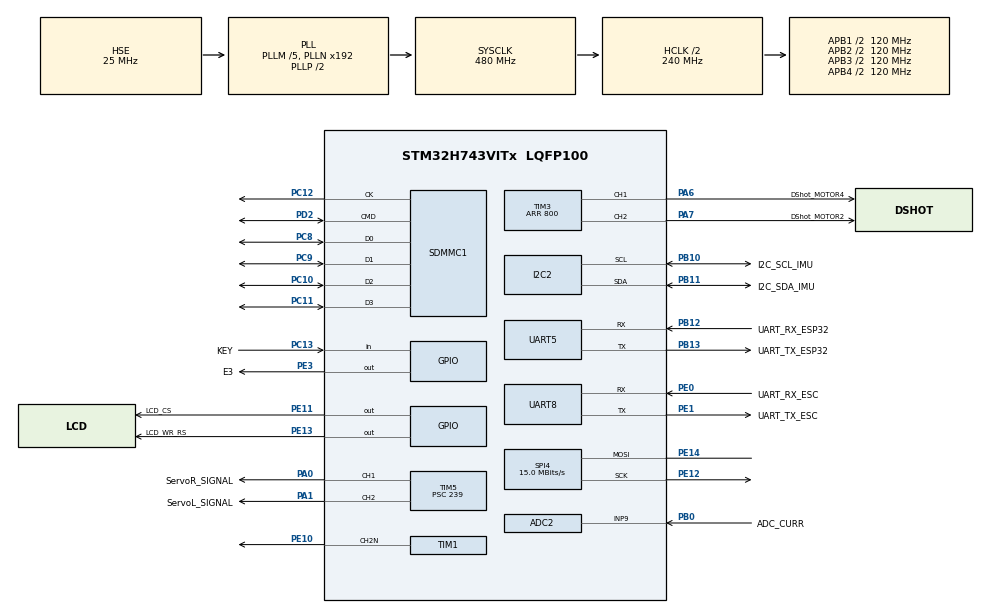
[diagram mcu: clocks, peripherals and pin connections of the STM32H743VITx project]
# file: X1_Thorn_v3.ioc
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ADC2.Channel-0\#ChannelRegularConversion=ADC_CHANNEL_9
ADC2.NbrOfConversionFlag=1
ADC2.OffsetNumber-0\#ChannelRegularConversion=ADC_OFFSET_NONE
ADC2.OffsetSignedSaturation-0\#ChannelRegularConversion=DISABLE
ADC2.Rank-0\#ChannelRegularConversion=1
ADC2.SamplingTime-0\#ChannelRegularConversion=ADC_SAMPLETIME_1CYCLE_5
ADC3.Channel-0\#ChannelRegularConversion=ADC_CHANNEL_TEMPSENSOR
ADC3.NbrOfConversionFlag=1
ADC3.OffsetNumber-0\#ChannelRegularConversion=ADC_OFFSET_NONE
ADC3.OffsetSignedSaturation-0\#ChannelRegularConversion=DISABLE
ADC3.Rank-0\#ChannelRegularConversion=1
ADC3.SamplingTime-0\#ChannelRegularConversion=ADC_SAMPLETIME_1CYCLE_5
Dma.Request0=TIM3_CH1
Dma.Request1=TIM3_CH2
Dma.Request2=TIM16_UP
Dma.Request3=TIM15_UP
Dma.TIM15_UP.3.Direction=DMA_PERIPH_TO_MEMORY
Dma.TIM15_UP.3.EventEnable=DISABLE
Dma.TIM15_UP.3.FIFOMode=DMA_FIFOMODE_DISABLE
Dma.TIM15_UP.3.Instance=DMA1_Stream3
Dma.TIM15_UP.3.MemDataAlignment=DMA_MDATAALIGN_HALFWORD
Dma.TIM15_UP.3.MemInc=DMA_MINC_ENABLE
Dma.TIM15_UP.3.Mode=DMA_NORMAL
Dma.TIM15_UP.3.PeriphDataAlignment=DMA_PDATAALIGN_HALFWORD
Dma.TIM15_UP.3.PeriphInc=DMA_PINC_DISABLE
Dma.TIM15_UP.3.Polarity=HAL_DMAMUX_REQ_GEN_RISING
Dma.TIM15_UP.3.Priority=DMA_PRIORITY_VERY_HIGH
Dma.TIM15_UP.3.RequestNumber=1
Dma.TIM15_UP.3.SignalID=NONE
Dma.TIM15_UP.3.SyncEnable=DISABLE
Dma.TIM15_UP.3.SyncPolarity=HAL_DMAMUX_SYNC_NO_EVENT
Dma.TIM15_UP.3.SyncRequestNumber=1
Dma.TIM15_UP.3.SyncSignalID=NONE
Dma.TIM16_UP.2.Direction=DMA_PERIPH_TO_MEMORY
Dma.TIM16_UP.2.EventEnable=DISABLE
Dma.TIM16_UP.2.FIFOMode=DMA_FIFOMODE_DISABLE
Dma.TIM16_UP.2.Instance=DMA1_Stream2
Dma.TIM16_UP.2.MemDataAlignment=DMA_MDATAALIGN_HALFWORD
Dma.TIM16_UP.2.MemInc=DMA_MINC_ENABLE
Dma.TIM16_UP.2.Mode=DMA_NORMAL
Dma.TIM16_UP.2.PeriphDataAlignment=DMA_PDATAALIGN_HALFWORD
Dma.TIM16_UP.2.PeriphInc=DMA_PINC_DISABLE
Dma.TIM16_UP.2.Polarity=HAL_DMAMUX_REQ_GEN_RISING
Dma.TIM16_UP.2.Priority=DMA_PRIORITY_VERY_HIGH
Dma.TIM16_UP.2.RequestNumber=1
Dma.TIM16_UP.2.SignalID=NONE
Dma.TIM16_UP.2.SyncEnable=DISABLE
Dma.TIM16_UP.2.SyncPolarity=HAL_DMAMUX_SYNC_NO_EVENT
Dma.TIM16_UP.2.SyncRequestNumber=1
Dma.TIM16_UP.2.SyncSignalID=NONE
Dma.TIM3_CH1.0.Direction=DMA_MEMORY_TO_PERIPH
Dma.TIM3_CH1.0.EventEnable=DISABLE
Dma.TIM3_CH1.0.FIFOMode=DMA_FIFOMODE_DISABLE
Dma.TIM3_CH1.0.Instance=DMA1_Stream0
Dma.TIM3_CH1.0.MemDataAlignment=DMA_MDATAALIGN_HALFWORD
Dma.TIM3_CH1.0.MemInc=DMA_MINC_ENABLE
Dma.TIM3_CH1.0.Mode=DMA_NORMAL
Dma.TIM3_CH1.0.PeriphDataAlignment=DMA_PDATAALIGN_HALFWORD
Dma.TIM3_CH1.0.PeriphInc=DMA_PINC_DISABLE
Dma.TIM3_CH1.0.Polarity=HAL_DMAMUX_REQ_GEN_RISING
Dma.TIM3_CH1.0.Priority=DMA_PRIORITY_HIGH
Dma.TIM3_CH1.0.RequestNumber=1
Dma.TIM3_CH1.0.SignalID=NONE
Dma.TIM3_CH1.0.SyncEnable=DISABLE
Dma.TIM3_CH1.0.SyncPolarity=HAL_DMAMUX_SYNC_NO_EVENT
Dma.TIM3_CH1.0.SyncRequestNumber=1
Dma.TIM3_CH1.0.SyncSignalID=NONE
Dma.TIM3_CH2.1.Direction=DMA_MEMORY_TO_PERIPH
Dma.TIM3_CH2.1.EventEnable=DISABLE
Dma.TIM3_CH2.1.FIFOMode=DMA_FIFOMODE_DISABLE
Dma.TIM3_CH2.1.Instance=DMA1_Stream1
Dma.TIM3_CH2.1.MemDataAlignment=DMA_MDATAALIGN_HALFWORD
Dma.TIM3_CH2.1.MemInc=DMA_MINC_ENABLE
Dma.TIM3_CH2.1.Mode=DMA_NORMAL
Dma.TIM3_CH2.1.PeriphDataAlignment=DMA_PDATAALIGN_HALFWORD
Dma.TIM3_CH2.1.PeriphInc=DMA_PINC_DISABLE
Dma.TIM3_CH2.1.Polarity=HAL_DMAMUX_REQ_GEN_RISING
Dma.TIM3_CH2.1.Priority=DMA_PRIORITY_HIGH
Dma.TIM3_CH2.1.RequestNumber=1
Dma.TIM3_CH2.1.SignalID=NONE
Dma.TIM3_CH2.1.SyncEnable=DISABLE
Dma.TIM3_CH2.1.SyncPolarity=HAL_DMAMUX_SYNC_NO_EVENT
Dma.TIM3_CH2.1.SyncRequestNumber=1
Dma.TIM3_CH2.1.SyncSignalID=NONE
FATFS.BSP.number=1
FATFS0.BSP.STBoard=false
FATFS0.BSP.api=Unknown
FATFS0.BSP.instance=PC13
FATFS0.BSP.ip=GPIO
FATFS0.BSP.mode=Input
FATFS0.BSP.name=Detect_SDIO
FATFS0.BSP.solution=PC13
FREERTOS.Tasks01=TestTask,40,8192,StartTestTask,Default,NULL,Static,TestTaskBuffer,TestTaskControlBlock
FREERTOS.configUSE_NEWLIB_REENTRANT=1
I2C2.Timing=0x307075B1
Mcu.Family=STM32H7
Mcu.Name=STM32H743VITx
Mcu.Package=LQFP100
NVIC.DMA1_Stream0_IRQn=true\:5\:0\:false\:false\:true\:true\:false\:true\:true
NVIC.DMA1_Stream1_IRQn=true\:5\:0\:false\:false\:true\:true\:false\:true\:true
NVIC.DMA1_Stream2_IRQn=true\:5\:0\:false\:false\:true\:true\:false\:true\:true
NVIC.DMA1_Stream3_IRQn=true\:5\:0\:false\:false\:true\:true\:false\:true\:true
NVIC.PriorityGroup=NVIC_PRIORITYGROUP_4
NVIC.SDMMC1_IRQn=true\:5\:0\:false\:false\:true\:true\:true\:true\:true
NVIC.TIM17_IRQn=true\:5\:0\:true\:false\:true\:true\:true\:true\:true
NVIC.TIM2_IRQn=true\:5\:0\:false\:false\:true\:true\:true\:true\:true
NVIC.TIM7_IRQn=true\:15\:0\:true\:false\:true\:false\:false\:true\:true
NVIC.TimeBase=TIM7_IRQn
NVIC.TimeBaseIP=TIM7
NVIC.UART5_IRQn=true\:5\:0\:false\:false\:true\:true\:true\:true\:true
NVIC.UART8_IRQn=true\:5\:0\:false\:false\:true\:true\:true\:true\:true
PA0.GPIO_Label=ServoR_SIGNAL
PA0.Signal=S_TIM5_CH1
PA1.GPIO_Label=ServoL_SIGNAL
PA1.Signal=S_TIM5_CH2
PA13\ (JTMS/SWDIO).Mode=Serial_Wire
PA13\ (JTMS/SWDIO).Signal=DEBUG_JTMS-SWDIO
PA14\ (JTCK/SWCLK).Mode=Serial_Wire
PA14\ (JTCK/SWCLK).Signal=DEBUG_JTCK-SWCLK
PA6.GPIO_Label=DShot_MOTOR4
PA6.GPIO_PuPd=GPIO_PULLUP
PA6.GPIO_Speed=GPIO_SPEED_FREQ_VERY_HIGH
PA6.Signal=S_TIM3_CH1
PA7.GPIO_Label=DShot_MOTOR2
PA7.GPIO_PuPd=GPIO_PULLUP
PA7.GPIO_Speed=GPIO_SPEED_FREQ_VERY_HIGH
PA7.Signal=S_TIM3_CH2
PB0.GPIO_Label=ADC_CURR
PB0.Signal=ADCx_INP9
PB10.GPIO_Label=I2C_SCL_IMU
PB10.GPIO_Pu=GPIO_PULLUP
PB10.GPIO_Speed=GPIO_SPEED_FREQ_HIGH
PB10.Mode=I2C
PB10.Signal=I2C2_SCL
PB11.GPIO_Label=I2C_SDA_IMU
PB11.GPIO_Pu=GPIO_PULLUP
PB11.GPIO_Speed=GPIO_SPEED_FREQ_HIGH
PB11.Mode=I2C
PB11.Signal=I2C2_SDA
PB12.GPIO_Label=UART_RX_ESP32
PB12.Mode=Asynchronous
PB12.Signal=UART5_RX
PB13.GPIO_Label=UART_TX_ESP32
PB13.Mode=Asynchronous
PB13.Signal=UART5_TX
PC10.Mode=SD_4_bits_Wide_bus
PC10.Signal=SDMMC1_D2
PC11.Mode=SD_4_bits_Wide_bus
PC11.Signal=SDMMC1_D3
PC12.Mode=SD_4_bits_Wide_bus
PC12.Signal=SDMMC1_CK
PC13.GPIO_Label=KEY
PC13.GPIO_PuPd=GPIO_PULLDOWN
PC13.Signal=GPIO_Input
PC14-OSC32_IN\ (OSC32_IN).Mode=LSE-External-Oscillator
PC14-OSC32_IN\ (OSC32_IN).Signal=RCC_OSC32_IN
PC15-OSC32_OUT\ (OSC32_OUT).Mode=LSE-External-Oscillator
PC15-OSC32_OUT\ (OSC32_OUT).Signal=RCC_OSC32_OUT
PC8.Mode=SD_4_bits_Wide_bus
PC8.Signal=SDMMC1_D0
PC9.Mode=SD_4_bits_Wide_bus
PC9.Signal=SDMMC1_D1
PD2.Mode=SD_4_bits_Wide_bus
PD2.Signal=SDMMC1_CMD
PE0.GPIO_Label=UART_RX_ESC
PE0.GPIO_PuPd=GPIO_PULLUP
PE0.Mode=Asynchronous
PE0.Signal=UART8_RX
PE1.GPIO_Label=UART_TX_ESC
PE1.Mode=Asynchronous
PE1.Signal=UART8_TX
PE10.Mode=PWM Generation2 CH2N
PE10.Signal=TIM1_CH2N
PE11.GPIO_Label=LCD_CS
PE11.GPIO_Speed=GPIO_SPEED_FREQ_VERY_HIGH
PE11.PinState=GPIO_PIN_SET
PE11.Signal=GPIO_Output
PE12.GPIO_Speed=GPIO_SPEED_FREQ_HIGH
PE12.Mode=Simplex_Bidirectional_Master
PE12.Signal=SPI4_SCK
PE13.GPIO_Label=LCD_WR_RS
PE13.GPIO_Speed=GPIO_SPEED_FREQ_VERY_HIGH
PE13.PinState=GPIO_PIN_SET
PE13.Signal=GPIO_Output
PE14.GPIO_Speed=GPIO_SPEED_FREQ_HIGH
PE14.Mode=Simplex_Bidirectional_Master
PE14.Signal=SPI4_MOSI
PE3.GPIO_Label=E3
PE3.PinState=GPIO_PIN_RESET
PE3.Signal=GPIO_Output
PH0-OSC_IN\ (PH0).Mode=HSE-External-Oscillator
PH0-OSC_IN\ (PH0).Signal=RCC_OSC_IN
PH1-OSC_OUT\ (PH1).Mode=HSE-External-Oscillator
PH1-OSC_OUT\ (PH1).Signal=RCC_OSC_OUT
ProjectManager.HeapSize=0x200
ProjectManager.StackSize=0x400
ProjectManager.TargetToolchain=STM32CubeIDE
RCC.ADCCLockSelection=RCC_ADCCLKSOURCE_PLL3
RCC.ADCFreq_Value=100000000
RCC.APB1Freq_Value=120000000
RCC.APB2Freq_Value=120000000
RCC.APB3Freq_Value=120000000
RCC.APB4Freq_Value=120000000
RCC.CortexFreq_Value=480000000
RCC.D1PPRE=RCC_APB3_DIV2
RCC.D2PPRE1=RCC_APB1_DIV2
RCC.D2PPRE2=RCC_APB2_DIV2
RCC.D3PPRE=RCC_APB4_DIV2
RCC.DIVM1=5
RCC.DIVM2=5
RCC.DIVM3=5
RCC.DIVN1=192
RCC.DIVN2=60
RCC.DIVN3=40
RCC.DIVQ2=1
RCC.HCLKFreq_Value=240000000
RCC.HPRE=RCC_HCLK_DIV2
RCC.HSE_VALUE=25000000
RCC.PLL2FRACN=0
RCC.PLL3FRACN=0
RCC.PLLFRACN=0
RCC.PLLSourceVirtual=RCC_PLLSOURCE_HSE
RCC.PWR_Regulator_Voltage_Scale=PWR_REGULATOR_VOLTAGE_SCALE0
RCC.RTCClockSelection=RCC_RTCCLKSOURCE_LSE
RCC.SDMMC1CLockSelection=RCC_SDMMCCLKSOURCE_PLL2
RCC.SYSCLKFreq_VALUE=480000000
RCC.SYSCLKSource=RCC_SYSCLKSOURCE_PLLCLK
RCC.USBFreq_Value=480000000
SDMMC1.ClockDiv=5
SH.ADCx_INP9.0=ADC2_INP9,IN9-Single-Ended
SH.S_TIM3_CH1.0=TIM3_CH1,PWM Generation1 CH1
SH.S_TIM3_CH2.0=TIM3_CH2,PWM Generation2 CH2
SH.S_TIM5_CH1.0=TIM5_CH1,PWM Generation1 CH1
SH.S_TIM5_CH2.0=TIM5_CH2,PWM Generation2 CH2
SPI4.BaudRatePrescaler=SPI_BAUDRATEPRESCALER_8
SPI4.CalculateBaudRate=15.0 MBits/s
SPI4.DataSize=SPI_DATASIZE_8BIT
SPI4.Direction=SPI_DIRECTION_1LINE
SPI4.Mode=SPI_MODE_MASTER
SPI4.VirtualType=VM_MASTER
TIM1.Channel-PWM\ Generation2\ CH2N=TIM_CHANNEL_2
TIM1.OCNPolarity_2=TIM_OCNPOLARITY_LOW
TIM1.Period=1000-1
TIM1.Prescaler=12-1
TIM15.Channel-Output\ Compare1\ No\ Output=TIM_CHANNEL_1
TIM15.Period=614
TIM16.Channel=TIM_CHANNEL_1
TIM16.Period=614
TIM17.Channel=TIM_CHANNEL_1
TIM17.Period=999
TIM17.Prescaler=119
TIM2.Channel-Output\ Compare1\ No\ Output=TIM_CHANNEL_1
TIM2.Period=1999
TIM2.Prescaler=1199
TIM3.Channel-PWM\ Generation1\ CH1=TIM_CHANNEL_1
TIM3.Channel-PWM\ Generation2\ CH2=TIM_CHANNEL_2
TIM3.OCPolarity_1=TIM_OCPOLARITY_LOW
TIM3.OCPolarity_2=TIM_OCPOLARITY_LOW
TIM3.Period=800
TIM5.Channel-PWM\ Generation1\ CH1=TIM_CHANNEL_1
TIM5.Channel-PWM\ Generation2\ CH2=TIM_CHANNEL_2
TIM5.Period=9999
TIM5.Prescaler=239
VP_ADC3_TempSens_Input.Mode=IN-TempSens
VP_FATFS_VS_SDIO.Mode=SDIO
VP_FREERTOS_VS_CMSIS_V2.Mode=CMSIS_V2
VP_MEMORYMAP_VS_MEMORYMAP.Mode=CurAppReg
VP_SYS_VS_tim7.Mode=TIM7
VP_TIM15_VS_ClockSourceINT.Mode=Internal
VP_TIM15_VS_no_output1.Mode=Output Compare1 No Output
VP_TIM16_VS_ClockSourceINT.Mode=Enable_Timer
VP_TIM16_VS_no_output1.Mode=Output Compare1 No Output
VP_TIM17_VS_ClockSourceINT.Mode=Enable_Timer
VP_TIM17_VS_no_output1.Mode=Output Compare1 No Output
VP_TIM2_VS_no_output1.Mode=Output Compare1 No Output
VP_TIM3_VS_ClockSourceINT.Mode=Internal
VP_TIM5_VS_ClockSourceINT.Mode=Internal
VP_VREFBUF_V_VREFBUF.Mode=ExternalMode
board=custom

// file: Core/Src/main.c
/* USER CODE BEGIN Header */
/**
  ******************************************************************************
  * @file           : main.c
  * @brief          : Main program body
  ******************************************************************************
  * @attention
  *
  * Copyright (c) 2025 STMicroelectronics.
  * All rights reserved.
  *
  * This software is licensed under terms that can be found in the LICENSE file
  * in the root directory of this software component.
  * If no LICENSE file comes with this software, it is provided AS-IS.
  *
  ******************************************************************************
  */
/* USER CODE END Header */
#include "main.h"
#include "cmsis_os.h"
#include "adc.h"
#include "dma.h"
#include "fatfs.h"
#include "i2c.h"
#include "memorymap.h"
#include "sdmmc.h"
#include "spi.h"
#include "tim.h"
#include "usart.h"
#include "gpio.h"

/* USER CODE BEGIN Includes */

#include "C:/Users/marcv/Desktop/X1-Thorn/1_Code/3_STM32/0_workspace/X1_Thorn_v3/Core/Src/User/Test/Test.h"
#include "User/Lib/DShotProtocol/DShot.h"
#include "User/Peripheral/ESC/ESC.h"
#include "User/Peripheral/ESP32/ESP32.h"
#include "User/App/Control/Control.h"
#include "User/App/SystemMonitor/SystemMonitor.h"
#include "User/Test/MotorCharacterization/MotorCharacterization.h"

/* USER CODE END Includes */

void SystemClock_Config(void);
void PeriphCommonClock_Config(void);
void MX_FREERTOS_Init(void);

int main(void)
{

  /* MCU Configuration--------------------------------------------------------*/

  /* Reset of all peripherals, Initializes the Flash interface and the Systick. */
  HAL_Init();

  /* Configure the system clock */
  SystemClock_Config();

  /* Configure the peripherals common clocks */
  PeriphCommonClock_Config();

  /* Initialize all configured peripherals */
  MX_GPIO_Init();
  MX_DMA_Init();
  MX_SPI4_Init();
  MX_TIM1_Init();
  MX_ADC3_Init();
  MX_TIM17_Init();
  MX_I2C2_Init();
  MX_UART5_Init();
  MX_TIM16_Init();
  MX_TIM3_Init();
  MX_UART8_Init();
  MX_TIM5_Init();
  MX_ADC2_Init();
  MX_TIM15_Init();
  MX_TIM2_Init();
  MX_FATFS_Init();
  MX_SDMMC1_SD_Init();

  /* Init scheduler */
  osKernelInitialize();

  /* Call init function for freertos objects (in cmsis_os2.c) */
//  MX_FREERTOS_Init();

  Test_Init();
  System_Monitor_Init();

  /* Start scheduler */
  osKernelStart();

  /* We should never get here as control is now taken by the scheduler */

  /* Infinite loop */
  while (1)
  {

  }
}

void SystemClock_Config(void)
{
  RCC_OscInitTypeDef RCC_OscInitStruct = {0};
  RCC_ClkInitTypeDef RCC_ClkInitStruct = {0};

  /** Supply configuration update enable
  */
  HAL_PWREx_ConfigSupply(PWR_LDO_SUPPLY);

  /** Configure the main internal regulator output voltage
  */
  __HAL_PWR_VOLTAGESCALING_CONFIG(PWR_REGULATOR_VOLTAGE_SCALE0);

  while(!__HAL_PWR_GET_FLAG(PWR_FLAG_VOSRDY)) {}

  /** Initializes the RCC Oscillators according to the specified parameters
  * in the RCC_OscInitTypeDef structure.
  */
  RCC_OscInitStruct.OscillatorType = RCC_OSCILLATORTYPE_HSE;
  RCC_OscInitStruct.HSEState = RCC_HSE_ON;
  RCC_OscInitStruct.PLL.PLLState = RCC_PLL_ON;
  RCC_OscInitStruct.PLL.PLLSource = RCC_PLLSOURCE_HSE;
  RCC_OscInitStruct.PLL.PLLM = 5;
  RCC_OscInitStruct.PLL.PLLN = 192;
  RCC_OscInitStruct.PLL.PLLP = 2;
  RCC_OscInitStruct.PLL.PLLQ = 2;
  RCC_OscInitStruct.PLL.PLLR = 2;
  RCC_OscInitStruct.PLL.PLLRGE = RCC_PLL1VCIRANGE_2;
  RCC_OscInitStruct.PLL.PLLVCOSEL = RCC_PLL1VCOWIDE;
  RCC_OscInitStruct.PLL.PLLFRACN = 0;
  if (HAL_RCC_OscConfig(&RCC_OscInitStruct) != HAL_OK)
  {
    Error_Handler();
  }

  /** Initializes the CPU, AHB and APB buses clocks
  */
  RCC_ClkInitStruct.ClockType = RCC_CLOCKTYPE_HCLK|RCC_CLOCKTYPE_SYSCLK
                              |RCC_CLOCKTYPE_PCLK1|RCC_CLOCKTYPE_PCLK2
                              |RCC_CLOCKTYPE_D3PCLK1|RCC_CLOCKTYPE_D1PCLK1;
  RCC_ClkInitStruct.SYSCLKSource = RCC_SYSCLKSOURCE_PLLCLK;
  RCC_ClkInitStruct.SYSCLKDivider = RCC_SYSCLK_DIV1;
  RCC_ClkInitStruct.AHBCLKDivider = RCC_HCLK_DIV2;
  RCC_ClkInitStruct.APB3CLKDivider = RCC_APB3_DIV2;
  RCC_ClkInitStruct.APB1CLKDivider = RCC_APB1_DIV2;
  RCC_ClkInitStruct.APB2CLKDivider = RCC_APB2_DIV2;
  RCC_ClkInitStruct.APB4CLKDivider = RCC_APB4_DIV2;

  if (HAL_RCC_ClockConfig(&RCC_ClkInitStruct, FLASH_LATENCY_4) != HAL_OK)
  {
    Error_Handler();
  }
}

void PeriphCommonClock_Config(void)
{
  RCC_PeriphCLKInitTypeDef PeriphClkInitStruct = {0};

  /** Initializes the peripherals clock
  */
  PeriphClkInitStruct.PeriphClockSelection = RCC_PERIPHCLK_ADC;
  PeriphClkInitStruct.PLL3.PLL3M = 5;
  PeriphClkInitStruct.PLL3.PLL3N = 40;
  PeriphClkInitStruct.PLL3.PLL3P = 2;
  PeriphClkInitStruct.PLL3.PLL3Q = 2;
  PeriphClkInitStruct.PLL3.PLL3R = 2;
  PeriphClkInitStruct.PLL3.PLL3RGE = RCC_PLL3VCIRANGE_2;
  PeriphClkInitStruct.PLL3.PLL3VCOSEL = RCC_PLL3VCOWIDE;
  PeriphClkInitStruct.PLL3.PLL3FRACN = 0;
  PeriphClkInitStruct.AdcClockSelection = RCC_ADCCLKSOURCE_PLL3;
  if (HAL_RCCEx_PeriphCLKConfig(&PeriphClkInitStruct) != HAL_OK)
  {
    Error_Handler();
  }
}

/* USER CODE BEGIN 4 */

void HAL_UART_RxCpltCallback(UART_HandleTypeDef *huart)
{
    if (huart == &huart5)
    {
    	UART_ESP32_RxCpltCallback();
    }
    if (huart == &huart8)
    {
    	UART_ESC_RxCpltCallback();
//    	UART_ESC_Motor_CharRxCpltCallback();
    }
}

void HAL_UART_ErrorCallback(UART_HandleTypeDef *huart)
{
    if (huart == &huart5)
    {
    	UART_ESP32_ErrorCallback();
    }
    if (huart == &huart8)
    {
    	UART_ESC_ErrorCallback();
//    	UART_ESC_Motor_CharErrorCallback();
    }
}

/* USER CODE END 4 */

void HAL_TIM_PeriodElapsedCallback(TIM_HandleTypeDef *htim)
{
  /* USER CODE BEGIN Callback 0 */

//	BaseType_t xHigherPriorityTaskWoken_ESC = pdFALSE; // only needed with freertos, not cmsis2

	if (htim->Instance == TIM2) // Control loop timer
	{
		TIM_PeriodElapsedCallback_Control_Timer();
	}

	if (htim->Instance == TIM17) // ESC loop timer
	{
		TIM_PeriodElapsedCallback_ESC_Timer();
//		TIM_PeriodElapsedCallback_MotorCharacterization_Timer();
	}

  /* USER CODE END Callback 0 */
  if (htim->Instance == TIM7)
  {
    HAL_IncTick();
  }
}

void Error_Handler(void)
{
  __disable_irq();
  while (1)
  {
  }
}

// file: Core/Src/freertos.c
/* USER CODE BEGIN Header */
///**
//  ******************************************************************************
//  * File Name          : freertos.c
//  * Description        : Code for freertos applications
//  ******************************************************************************
//  * @attention
//  *
//  * Copyright (c) 2025 STMicroelectronics.
//  * All rights reserved.
//  *
//  * This software is licensed under terms that can be found in the LICENSE file
//  * in the root directory of this software component.
//  * If no LICENSE file comes with this software, it is provided AS-IS.
//  *
//  ******************************************************************************
//  */
/* USER CODE END Header */

#include "FreeRTOS.h"
#include "task.h"
#include "main.h"
#include "cmsis_os.h"

/* USER CODE BEGIN Includes */
//
//#include "User/Test/Test.h"
//#include "semphr.h"
//
/* USER CODE END Includes */

typedef StaticTask_t osStaticThreadDef_t;
/* USER CODE BEGIN PTD */
//
/* USER CODE END PTD */

/* USER CODE BEGIN PD */
//
/* USER CODE END PD */

/* USER CODE BEGIN PM */
//
/* USER CODE END PM */

/* USER CODE BEGIN Variables */
//
//
//
/* USER CODE END Variables */
/* Definitions for TestTask */
osThreadId_t TestTaskHandle;
uint32_t TestTaskBuffer[ 8192 ];
osStaticThreadDef_t TestTaskControlBlock;
const osThreadAttr_t TestTask_attributes = {
  .name = "TestTask",
  .cb_mem = &TestTaskControlBlock,
  .cb_size = sizeof(TestTaskControlBlock),
  .stack_mem = &TestTaskBuffer[0],
  .stack_size = sizeof(TestTaskBuffer),
  .priority = (osPriority_t) osPriorityHigh,
};

/* USER CODE BEGIN FunctionPrototypes */
//
/* USER CODE END FunctionPrototypes */

void StartTestTask(void *argument);

void MX_FREERTOS_Init(void); /* (MISRA C 2004 rule 8.1) */

void MX_FREERTOS_Init(void) {
  /* USER CODE BEGIN Init */
//
  /* USER CODE END Init */

  /* USER CODE BEGIN RTOS_MUTEX */
//  /* add mutexes, ... */
  /* USER CODE END RTOS_MUTEX */

  /* USER CODE BEGIN RTOS_SEMAPHORES */
//  /* add semaphores, ... */
  /* USER CODE END RTOS_SEMAPHORES */

  /* USER CODE BEGIN RTOS_TIMERS */
//  /* start timers, add new ones, ... */
  /* USER CODE END RTOS_TIMERS */

  /* USER CODE BEGIN RTOS_QUEUES */
//  /* add queues, ... */
  /* USER CODE END RTOS_QUEUES */

  /* Create the thread(s) */
  /* creation of TestTask */
//  TestTaskHandle = osThreadNew(StartTestTask, NULL, &TestTask_attributes);

  /* USER CODE BEGIN RTOS_THREADS */
//  /* add threads, ... */
  /* USER CODE END RTOS_THREADS */

  /* USER CODE BEGIN RTOS_EVENTS */
//  /* add events, ... */
  /* USER CODE END RTOS_EVENTS */

}

/* USER CODE BEGIN Header_StartTestTask */
///**
//  * @brief  Function implementing the TestTask thread.
//  * @param  argument: Not used
//  * @retval None
//  */
/* USER CODE END Header_StartTestTask */
void StartTestTask(void *argument)
{
  /* USER CODE BEGIN StartTestTask */
//
//	Test_Init();
//
//  /* Infinite loop */
//  for(;;)
//  {
//	Test_Loop();
//    osDelay(40);
//  }
  /* USER CODE END StartTestTask */
}

/* USER CODE BEGIN Application */
//
/* USER CODE END Application */
